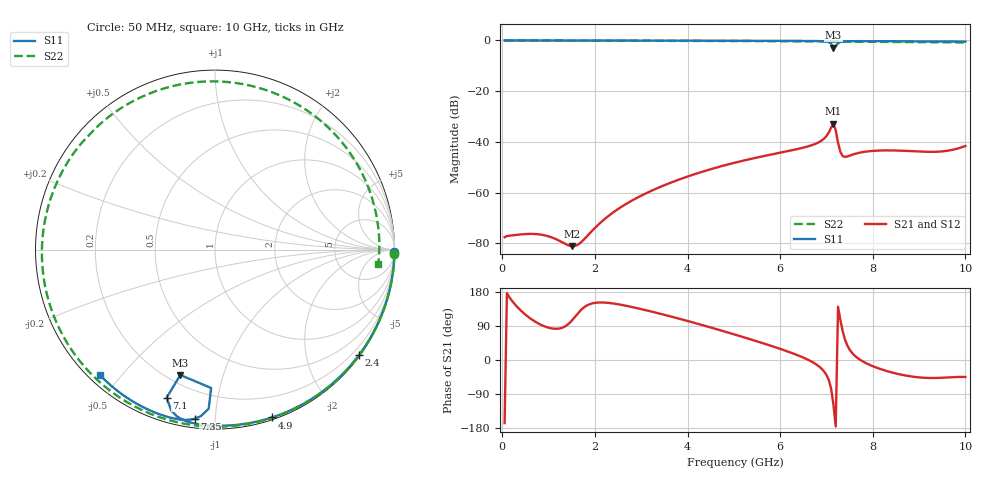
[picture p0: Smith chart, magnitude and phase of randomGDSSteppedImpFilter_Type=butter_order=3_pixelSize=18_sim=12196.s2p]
! freq	dB(S11)	phase(S11)	dB(S12)	phase(S12)
!  dB(S21)	phase(S21)	dB(S22)	phase(S22)
!S-par simulation data
#  GHz  S  DB  R 50
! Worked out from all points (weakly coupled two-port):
!   200 points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, 50 MHz to 10 GHz, reference 50 ohm
!   highest |S21| = -32.84 dB at 7.15 GHz (marker M1); lowest = -81.1 dB at 1.5 GHz (marker M2)
!   lowest |S11| = -2.8 dB at 7.15 GHz (marker M3), VSWR 6.27, Z = 12.4 - j36.5 ohm
!   |S11| at or under -10 dB: nowhere
!   |S22| runs from -0.8 to 0.0 dB; largest |S21 - S12| = 0
!   S11 on the Smith chart (normalised r, x): 50 MHz: open; 2.4 GHz: 0.03, -3.07; 4.9 GHz: 0.02, -1.40; 7.1 GHz: 0.11, -0.72; 7.35 GHz: 0.05, -0.89; 10 GHz: 0.03, -0.44
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0.05  -0.00 -0.8  -77.62 -166.5  -77.62 -166.5  -0.00 -1.5
0.75  -0.01 -11.5  -76.40 98.3  -76.40 98.3  -0.02 -22.9
1.5  -0.03 -22.8  -81.14 103.9  -81.14 103.9  -0.06 -45.2
1.75  -0.03 -26.5  -78.75 137.6  -78.75 137.6  -0.07 -52.6
2.4  -0.05 -36.1  -67.76 149.1  -67.76 149.1  -0.09 -71.5
3.4  -0.07 -50.5  -57.86 122.4  -57.86 122.4  -0.13 -100.0
4.15  -0.09 -61.0  -52.76 98.0  -52.76 98.0  -0.17 -121.3
4.9  -0.11 -71.2  -48.78 71.6  -48.78 71.6  -0.22 -143.2
5.05  -0.11 -73.2  -48.09 66.1  -48.09 66.1  -0.23 -147.7
5.9  -0.15 -84.6  -44.64 33.5  -44.64 33.5  -0.30 -174.5
6.7  -0.21 -95.9  -41.21 -5.6  -41.21 -5.6  -0.38 157.1
6.95  -0.33 -101.2  -38.68 -30.4  -38.68 -30.4  -0.41 147.4
7.1  -1.23 -108.1  -34.42 -74.8  -34.42 -74.8  -0.43 141.2
7.15  -2.79 -105.5  -32.84 -117.3  -32.84 -117.3  -0.45 139.2
7.2  -2.25 -91.6  -35.42 -175.4  -35.42 -175.4  -0.46 137.2
7.3  -0.61 -94.9  -43.97 105.5  -43.97 105.5  -0.46 133.0
7.35  -0.45 -96.9  -45.60 76.0  -45.60 76.0  -0.46 130.8
7.9  -0.28 -107.0  -43.74 -11.0  -43.74 -11.0  -0.53 105.6
8.35  -0.30 -112.8  -43.36 -30.8  -43.36 -30.8  -0.58 83.1
8.8  -0.34 -118.3  -43.63 -42.9  -43.63 -42.9  -0.63 59.3
9.25  -0.38 -123.6  -43.95 -47.5  -43.95 -47.5  -0.68 34.8
10  -0.46 -132.4  -41.62 -44.9  -41.62 -44.9  -0.78 -5.0
